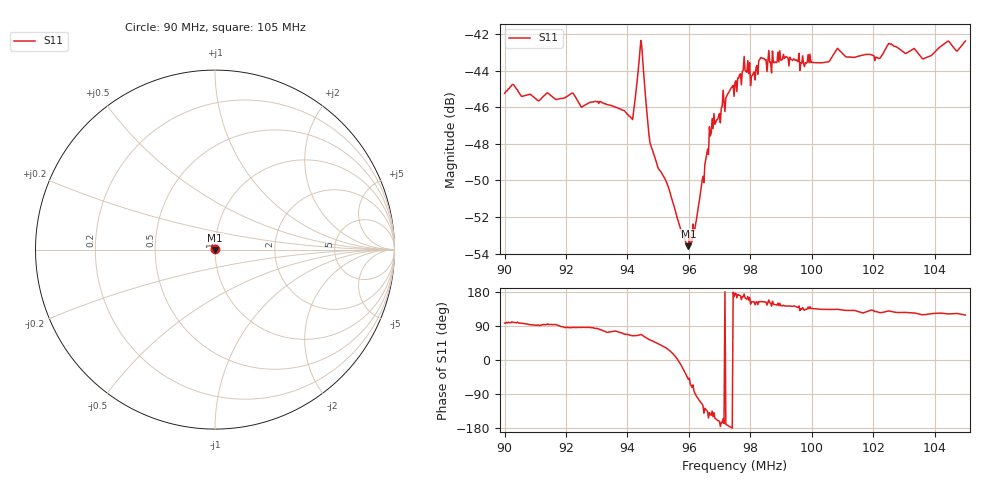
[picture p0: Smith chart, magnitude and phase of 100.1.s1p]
# HZ S RI R 50
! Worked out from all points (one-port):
!   505 points, 90 MHz to 105 MHz, reference 50 ohm
!   lowest |S11| = -53.6 dB at 95.98 MHz (marker M1), VSWR 1.00, Z = 50.1 - j0.164 ohm
!   |S11| at or under -10 dB: start of sweep to end of sweep
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9e7  -0.000698 0.00543
9.026786e7  -0.000934 0.00571
9.107143e7  -0.000132 0.00523
9.187501e7  0.000205 0.0053
9.375001e7  0.00146 0.00474
9.416668e7  0.00201 0.00418
9.443454e7  0.00295 0.00704
9.449406e7  0.0029 0.00613
9.467263e7  0.00252 0.00367
9.476192e7  0.00243 0.0031
9.562502e7  0.00249 8.35e-05
9.598216e7  0.0013 -0.00163
9.622026e7  -7.48e-05 -0.00241
9.672621e7  -0.00353 -0.00239
9.750002e7  -0.00584 0.000386
9.779764e7  -0.00686 0.000704
9.80655e7  -0.00548 0.00274
9.836312e7  -0.00617 0.00297
9.937503e7  -0.00527 0.00418
1.00506e8  -0.00456 0.00485
1.008334e8  -0.00502 0.00524
1.0125e8  -0.00449 0.0052
1.022024e8  -0.00393 0.00557
1.025298e8  -0.0047 0.00581
1.03125e8  -0.00408 0.00579
1.036608e8  -0.00337 0.00593
1.044048e8  -0.00399 0.00644
1.05e8  -0.00365 0.00667
